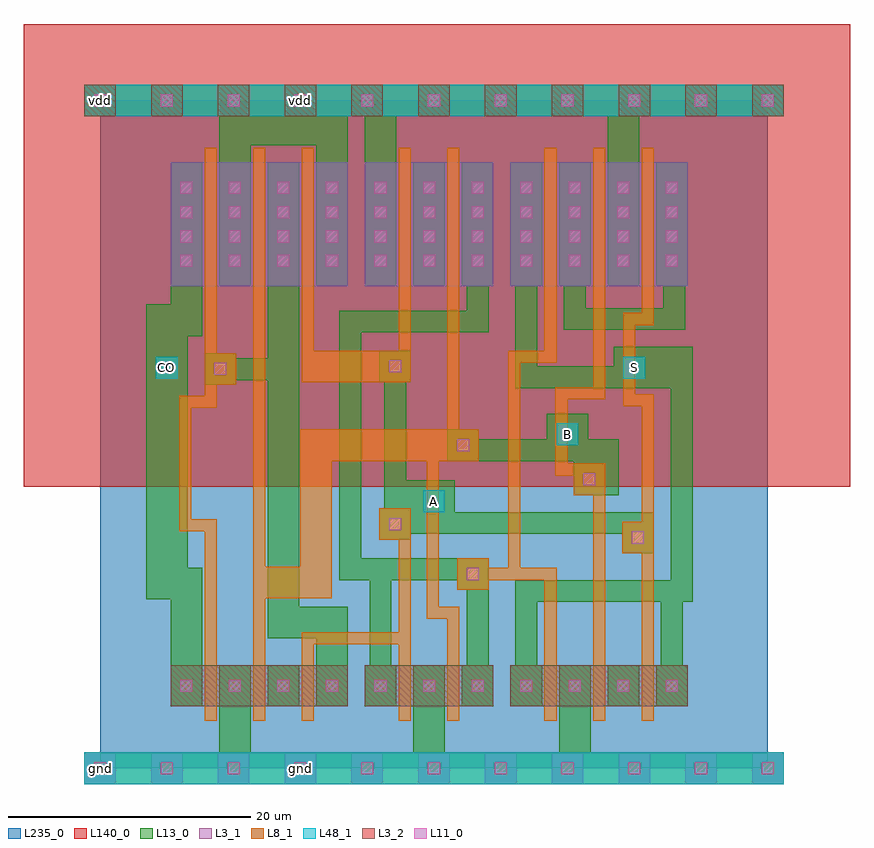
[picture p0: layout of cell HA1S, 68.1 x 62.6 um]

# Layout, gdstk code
import gdstk
lib = gdstk.Library(unit=1e-6, precision=1e-09)
def R(c, l, rs):  # rectangles x0, y0, x1, y1
    for r in rs: c.add(gdstk.rectangle(r[:2], r[2:], *l))
def A(c, l, x, y, w, h, nx, ny, dx, dy):  # array of equal rectangles
    R(c, l, [(x+i*dx, y+j*dy, x+i*dx+w, y+j*dy+h) for i in range(nx) for j in range(ny)])
def P(c, l, *ps):  # polygons
    for p in ps: c.add(gdstk.Polygon(p, *l))
L3_1 = (3, 1)
L3_2 = (3, 2)
L8_1 = (8, 1)
L11_0 = (11, 0)
L13_0 = (13, 0)
L48_1 = (48, 1)
L140_0 = (140, 0)
L235_0 = (235, 0)

cont_n = lib.new_cell('cont_n')
R(cont_n, L3_2, [(-1.3,-1.3,1.3,1.3)])
R(cont_n, L11_0, [(-0.5,-0.5,0.5,0.5)])
R(cont_n, L13_0, [(-1.3,-1.3,1.3,1.3)])

cont_p = lib.new_cell('cont_p')
R(cont_p, L3_1, [(-1.3,-1.3,1.3,1.3)])
R(cont_p, L11_0, [(-0.5,-0.5,0.5,0.5)])
R(cont_p, L13_0, [(-1.3,-1.3,1.3,1.3)])

ha1s = lib.new_cell('HA1S')
A(ha1s, L3_1, -1.3, -1.3, 2.6, 2.6, 4, 1, 5.5, 0)
R(ha1s, L3_1, [(-1.3,-1.3,1.3,1.3), (5.8,39.7,12.4,49.9), (5.8,39.7,12.4,49.9), (9.8,39.7,20.4,49.9), (9.8,39.7,20.4,49.9), (21.8,39.7,32.4,49.9), (21.8,39.7,32.4,49.9), (33.8,39.7,48.4,49.9), (33.8,39.7,48.4,49.9)])
A(ha1s, L3_2, -1.3, 53.7, 2.6, 2.6, 4, 1, 5.5, 0)
R(ha1s, L3_2, [(5.8,5.1,12.4,8.5), (9.8,5.1,20.4,8.5), (21.8,5.1,32.4,8.5), (33.8,5.1,48.4,8.5), (-1.3,53.7,1.3,56.3)])
R(ha1s, L8_1, [(12.6,3.9,13.6,51.1), (16.6,33.1,17.6,51.1)])
P(ha1s, L8_1, [(16.6,3.9),(16.6,11.2),(20.4,11.2),(25.6,11.2),(25.6,10.2),(17.6,10.2),(17.6,3.9)],
  [(23,31.8),(23,34.4),(24.6,34.4),(24.6,51.1),(25.6,51.1),(25.6,31.8)],
  [(24.6,3.9),(24.6,18.8),(23,18.8),(23,21.4),(24.6,21.4),(25.6,21.4),(25.6,3.9)],
  [(44.6,3.9),(44.6,17.7),(43,17.7),(43,20.3),(44.6,20.3),(44.6,29.8),(43.1,29.8),(43.1,37.5),(44.6,37.5),(44.6,51.1),(45.6,51.1),(45.6,36.5),(44.1,36.5),(44.1,30.8),(45.6,30.8),(45.6,3.9)],
  [(40.6,3.9),(40.6,22.5),(39,22.5),(39,24.1),(37.5,24.1),(37.5,31.4),(40.6,31.4),(40.6,51.1),(41.6,51.1),(41.6,30.4),(38.5,30.4),(38.5,25.1),(41.6,25.1),(41.6,3.9)],
  [(36.6,3.9),(36.6,15.5),(32,15.5),(32,14.7),(29.4,14.7),(29.4,17.3),(32,17.3),(32,16.5),(33.6,16.5),(33.6,34.4),(36.6,34.4),(36.6,51.1),(37.6,51.1),(37.6,33.4),(34.6,33.4),(34.6,16.5),(37.6,16.5),(37.6,3.9)],
  [(28.6,3.9),(28.6,12.3),(26.9,12.3),(26.9,26.3),(28.6,26.3),(28.6,51.1),(29.6,51.1),(29.6,27.9),(31.2,27.9),(31.2,25.3),(27.9,25.3),(27.9,13.3),(29.6,13.3),(29.6,3.9)],
  [(8.6,3.9),(8.6,19.5),(6.5,19.5),(6.5,30.7),(8.6,30.7),(8.6,51.1),(9.6,51.1),(9.6,34.2),(11.2,34.2),(11.2,31.6),(9.6,31.6),(9.6,29.7),(7.5,29.7),(7.5,20.5),(9.6,20.5),(9.6,3.9)])
A(ha1s, L11_0, -0.5, -0.5, 1, 1, 4, 2, 5.5, 55)
A(ha1s, L11_0, 14.6, 6.3, 1, 1, 4, 1, 4, 0)
A(ha1s, L11_0, 26.6, 6.3, 1, 1, 4, 2, 4, 35)
A(ha1s, L11_0, 6.6, 41.3, 1, 1, 1, 4, 0, 2)
A(ha1s, L11_0, 18.6, 41.3, 1, 1, 3, 4, 4, 2)
A(ha1s, L11_0, 38.6, 41.3, 1, 1, 1, 4, 0, 2)
A(ha1s, L11_0, 46.6, 41.3, 1, 1, 1, 4, 0, 2)
A(ha1s, L11_0, 26.6, 43.3, 1, 1, 4, 3, 4, 2)
R(ha1s, L11_0, [(-0.5,-0.5,0.5,0.5), (6.6,6.3,7.6,7.3), (10.6,6.3,11.6,7.3), (10.6,6.3,11.6,7.3), (14.6,6.3,15.6,7.3), (38.6,6.3,39.6,7.3), (42.6,6.3,43.6,7.3), (42.6,6.3,43.6,7.3), (46.6,6.3,47.6,7.3), (30.2,15.5,31.2,16.5), (43.8,18.5,44.8,19.5), (23.8,19.6,24.8,20.6), (39.8,23.3,40.8,24.3), (29.4,26.1,30.4,27.1), (9.4,32.4,10.4,33.4), (23.8,32.6,24.8,33.6), (10.6,41.3,11.6,42.3), (10.6,41.3,11.6,42.3), (14.6,41.3,15.6,42.3), (14.6,41.3,15.6,42.3), (14.6,41.3,15.6,42.3), (14.6,41.3,15.6,42.3), (18.6,41.3,19.6,42.3), (18.6,41.3,19.6,42.3), (42.6,41.3,43.6,42.3), (42.6,41.3,43.6,42.3), (10.6,43.3,11.6,44.3), (10.6,43.3,11.6,44.3), (14.6,43.3,15.6,44.3), (14.6,43.3,15.6,44.3), (14.6,43.3,15.6,44.3), (14.6,43.3,15.6,44.3), (18.6,43.3,19.6,44.3), (18.6,43.3,19.6,44.3), (42.6,43.3,43.6,44.3), (42.6,43.3,43.6,44.3), (10.6,45.3,11.6,46.3), (10.6,45.3,11.6,46.3), (14.6,45.3,15.6,46.3), (14.6,45.3,15.6,46.3), (14.6,45.3,15.6,46.3), (14.6,45.3,15.6,46.3), (18.6,45.3,19.6,46.3), (18.6,45.3,19.6,46.3), (42.6,45.3,43.6,46.3), (42.6,45.3,43.6,46.3), (10.6,47.3,11.6,48.3), (10.6,47.3,11.6,48.3), (14.6,47.3,15.6,48.3), (14.6,47.3,15.6,48.3), (14.6,47.3,15.6,48.3), (14.6,47.3,15.6,48.3), (18.6,47.3,19.6,48.3), (18.6,47.3,19.6,48.3), (42.6,47.3,43.6,48.3), (42.6,47.3,43.6,48.3), (-0.5,54.5,0.5,55.5)])
R(ha1s, L13_0, [(13.8,5.1,16.4,8.5), (41.8,5.1,44.4,8.5), (36.8,25.8,40.2,29.2), (42.3,31.3,45.7,34.7), (8.6,31.6,11.2,34.2), (23,31.8,25.6,34.4), (25.8,39.7,28.4,49.9)])
P(ha1s, L13_0, [(21.8,39.7),(21.8,53.7),(19.35,53.7),(19.35,56.3),(56.3,56.3),(56.3,55.05),(56.3,54.6),(56.3,53.7),(44.4,53.7),(44.4,39.7),(41.8,39.7),(41.8,53.7),(24.4,53.7),(24.4,39.7)],
  [(-1.3,-1.3),(-1.3,-0.85),(-1.3,-0.1),(-1.3,0.35),(-1.3,1.3),(25.8,1.3),(25.8,8.5),(28.4,8.5),(28.4,1.3),(37.8,1.3),(37.8,8.5),(40.4,8.5),(40.4,1.3),(56.3,1.3),(56.3,-1.3)],
  [(9.8,39.7),(9.8,53.7),(-1.3,53.7),(-1.3,54.1),(-1.3,54.45),(-1.3,55.8),(-1.3,55.85),(-1.3,55.95),(-1.3,56.3),(56.3,56.3),(56.3,53.7),(20.4,53.7),(20.4,39.7),(17.8,39.7),(17.8,51.3),(12.4,51.3),(12.4,39.7)],
  [(5.8,5.1),(5.8,13.9),(3.8,13.9),(3.8,30.2),(3.8,31.3),(3.8,34.7),(3.8,38.2),(5.8,38.2),(5.8,49.9),(8.4,49.9),(8.4,35.6),(7.2,35.6),(7.2,35.35),(7.2,31.3),(7.2,30.25),(7.2,16.5),(8.4,16.5),(8.4,5.1)],
  [(3.8,31.3),(3.8,32.7),(3.8,34.7),(7.2,34.7),(7.2,31.3)],
  [(33.8,5.1),(33.8,8.5),(34.2,8.5),(34.2,15.5),(47,15.5),(47,31.3),(34.2,31.3),(34.2,39.7),(33.8,39.7),(33.8,49.9),(36.4,49.9),(36.4,39.7),(36,39.7),(36,33.1),(44.8,33.1),(44.8,34.7),(48.8,34.7),(48.8,33.1),(48.8,13.7),(48,13.7),(48,8.5),(48.4,8.5),(48.4,5.1),(45.8,5.1),(45.8,8.5),(46.2,8.5),(46.2,13.7),(36,13.7),(36,8.5),(36.4,8.5),(36.4,5.1)],
  [(39,22.5),(39,25.3),(28.6,25.3),(28.6,27.9),(31.2,27.9),(31.2,27.1),(39,27.1),(41.3,27.1),(42.7,27.1),(42.7,22.5)],
  [(43,17.7),(43,19.3),(25.6,19.3),(25.6,18.8),(23,18.8),(23,21.4),(25.6,21.4),(25.2,21.4),(25.2,22.75),(25.2,23.7),(29.2,23.7),(29.2,21.1),(45.6,21.1),(45.6,17.7)],
  [(25.8,20.3),(25.8,23.7),(29.2,23.7),(29.2,22.2),(29.2,20.3)],
  [(21.8,5.1),(21.8,8.5),(22.2,8.5),(22.2,15.5),(19.7,15.5),(19.7,37.7),(30.2,37.7),(30.2,39.7),(29.8,39.7),(29.8,49.9),(32.4,49.9),(32.4,39.7),(32,39.7),(32,35.9),(21.5,35.9),(21.5,17.3),(32,17.3),(32,8.5),(32.4,8.5),(32.4,5.1),(29.8,5.1),(29.8,8.5),(30.2,8.5),(30.2,14.7),(29.4,14.7),(29.4,15.5),(24,15.5),(24,8.5),(24.4,8.5),(24.4,5.1)],
  [(38.2,36.1),(38.2,39.7),(37.8,39.7),(37.8,49.9),(40.4,49.9),(40.4,39.7),(40,39.7),(40,37.9),(46.4,37.9),(46.4,39.7),(45.8,39.7),(45.8,49.9),(48.4,49.9),(48.4,39.7),(48.2,39.7),(48.2,36.1)])
R(ha1s, L48_1, [(-1.3,-1.3,56.3,1.3), (-1.3,-1.3,1.3,1.3), (26.6,21.1,28.4,22.9), (37.6,26.6,39.4,28.4), (4.6,32.1,6.4,33.9), (43.1,32.1,44.9,33.9), (-1.3,53.7,56.3,56.3), (-1.3,53.7,1.3,56.3)])
R(ha1s, L140_0, [(-6.3,23.2,61.8,61.3)])
P(ha1s, L235_0, [(0,0),(0,55),(55,55),(55,43.75),(55,0)])
ha1s.add(gdstk.FlexPath([(10,32.85),(15.1,32.85)], 1.8, ends="extended", simple_path=True, layer=13, datatype=0))  # L13_0
ha1s.add(gdstk.FlexPath([(24.3,20.1),(24.3,33.1)], 1.8, ends="extended", simple_path=True, layer=13, datatype=0))  # L13_0
ha1s.add(gdstk.FlexPath([(11.1,7.2),(11.1,0)], 2.6, ends="extended", simple_path=True, layer=13, datatype=0))  # L13_0
ha1s.add(gdstk.FlexPath([(15.1,48.6),(15.1,12),(19.1,12),(19.1,6.4)], 2.6, ends="extended", simple_path=True, layer=13, datatype=0))  # L13_0
ha1s.add(gdstk.FlexPath([(13.9,15.3),(17.8,15.3),(17.8,26.6),(29.9,26.6)], 2.6, ends="extended", simple_path=True, layer=8, datatype=1))  # L8_1
ha1s.add(gdstk.FlexPath([(24.3,33.1),(17.9,33.1)], 2.6, ends="extended", simple_path=True, layer=8, datatype=1))  # L8_1
ha1s.add(gdstk.Reference(cont_n, (49.5,55)))
ha1s.add(gdstk.Reference(cont_n, (22,55)))
ha1s.add(gdstk.Reference(cont_n, (33,55)))
ha1s.add(gdstk.Reference(cont_n, (27.5,55)))
ha1s.add(gdstk.Reference(cont_n, (38.5,55)))
ha1s.add(gdstk.Reference(cont_n, (44,55)))
ha1s.add(gdstk.Reference(cont_p, (22,0)))
ha1s.add(gdstk.Reference(cont_p, (27.5,0)))
ha1s.add(gdstk.Reference(cont_p, (33,0)))
ha1s.add(gdstk.Reference(cont_p, (38.5,0)))
ha1s.add(gdstk.Reference(cont_p, (44,0)))
ha1s.add(gdstk.Reference(cont_p, (49.5,0)))
ha1s.add(gdstk.Reference(cont_n, (55,55)))
ha1s.add(gdstk.Reference(cont_p, (55,0)))
ha1s.add(gdstk.Label('CO', (5.5,33), layer=48, texttype=0))
ha1s.add(gdstk.Label('S', (44,33), layer=48, texttype=0))
ha1s.add(gdstk.Label('B', (38.5,27.5), layer=48, texttype=0))
ha1s.add(gdstk.Label('A', (27.5,22), layer=48, texttype=0))
ha1s.add(gdstk.Label('gnd', (16.5,0), layer=48, texttype=0))
ha1s.add(gdstk.Label('vdd', (16.5,55), layer=48, texttype=0))
ha1s.add(gdstk.Label('vdd', (0,55), layer=48, texttype=0))
ha1s.add(gdstk.Label('gnd', (0,0), layer=48, texttype=0))

lib.write_gds('HA1S.gds')
